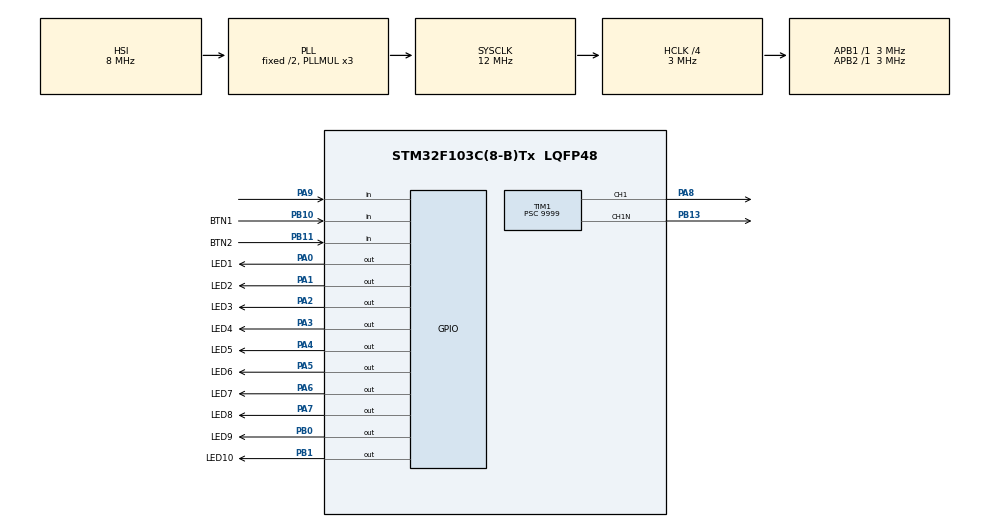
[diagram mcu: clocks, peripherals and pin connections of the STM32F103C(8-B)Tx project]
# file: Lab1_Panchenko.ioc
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Mcu.Family=STM32F1
Mcu.Name=STM32F103C(8-B)Tx
Mcu.Package=LQFP48
NVIC.PriorityGroup=NVIC_PRIORITYGROUP_4
NVIC.TIM1_BRK_IRQn=true\:0\:0\:false\:false\:true\:true\:true\:true
NVIC.TIM1_CC_IRQn=true\:0\:0\:false\:false\:true\:true\:true\:true
NVIC.TIM1_TRG_COM_IRQn=true\:0\:0\:false\:false\:true\:true\:true\:true
NVIC.TIM1_UP_IRQn=true\:0\:0\:false\:false\:true\:true\:true\:true
PA0-WKUP.GPIO_Label=LED1
PA0-WKUP.Signal=GPIO_Output
PA1.GPIO_Label=LED2
PA1.Signal=GPIO_Output
PA13.Mode=Serial_Wire
PA13.Signal=SYS_JTMS-SWDIO
PA14.Mode=Serial_Wire
PA14.Signal=SYS_JTCK-SWCLK
PA2.GPIO_Label=LED3
PA2.Signal=GPIO_Output
PA3.GPIO_Label=LED4
PA3.Signal=GPIO_Output
PA4.GPIO_Label=LED5
PA4.Signal=GPIO_Output
PA5.GPIO_Label=LED6
PA5.Signal=GPIO_Output
PA6.GPIO_Label=LED7
PA6.Signal=GPIO_Output
PA7.GPIO_Label=LED8
PA7.Signal=GPIO_Output
PA8.Signal=S_TIM1_CH1
PA9.Signal=GPIO_Input
PB0.GPIO_Label=LED9
PB0.Signal=GPIO_Output
PB1.GPIO_Label=LED10
PB1.Signal=GPIO_Output
PB10.GPIO_Label=BTN1
PB10.Signal=GPIO_Input
PB11.GPIO_Label=BTN2
PB11.Signal=GPIO_Input
PB13.Mode=PWM Generation1 CH1 CH1N
PB13.Signal=TIM1_CH1N
ProjectManager.HeapSize=0x200
ProjectManager.StackSize=0x400
ProjectManager.TargetToolchain=STM32CubeIDE
RCC.AHBCLKDivider=RCC_SYSCLK_DIV4
RCC.AHBFreq_Value=3000000
RCC.APB1Freq_Value=3000000
RCC.APB1TimFreq_Value=3000000
RCC.APB2Freq_Value=3000000
RCC.APB2TimFreq_Value=3000000
RCC.HCLKFreq_Value=3000000
RCC.PLLMUL=RCC_PLL_MUL3
RCC.SYSCLKFreq_VALUE=12000000
RCC.SYSCLKSource=RCC_SYSCLKSOURCE_PLLCLK
RCC.USBFreq_Value=12000000
SH.S_TIM1_CH1.0=TIM1_CH1,PWM Generation1 CH1 CH1N
TIM1.AutoReloadPreload=TIM_AUTORELOAD_PRELOAD_ENABLE
TIM1.AutomaticOutput=TIM_AUTOMATICOUTPUT_ENABLE
TIM1.Channel-PWM\ Generation1\ CH1\ CH1N=TIM_CHANNEL_1
TIM1.OCMode_PWM-PWM\ Generation1\ CH1\ CH1N=TIM_OCMODE_PWM1
TIM1.OCNPolarity_1=TIM_OCNPOLARITY_LOW
TIM1.Period=999
TIM1.Prescaler=9999
TIM1.Pulse-PWM\ Generation1\ CH1\ CH1N=499
VP_TIM1_VS_ClockSourceINT.Mode=Internal
board=custom

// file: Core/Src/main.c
/* USER CODE BEGIN Header */
/**
  ******************************************************************************
  * @file           : main.c
  * @brief          : Main program body
  ******************************************************************************
  * @attention
  *
  * Copyright (c) 2025 STMicroelectronics.
  * All rights reserved.
  *
  * This software is licensed under terms that can be found in the LICENSE file
  * in the root directory of this software component.
  * If no LICENSE file comes with this software, it is provided AS-IS.
  *
  ******************************************************************************
  */
/* USER CODE END Header */
#include "main.h"

/* USER CODE BEGIN Includes */
#include "stm32f1xx_hal_tim.h"

/* USER CODE END Includes */

TIM_HandleTypeDef htim1;

void SystemClock_Config(void);
static void MX_GPIO_Init(void);
static void MX_TIM1_Init(void);

int main(void)
{

  /* MCU Configuration--------------------------------------------------------*/

  /* Reset of all peripherals, Initializes the Flash interface and the Systick. */
  HAL_Init();

  /* Configure the system clock */
  SystemClock_Config();

  /* Initialize all configured peripherals */
  MX_GPIO_Init();
  MX_TIM1_Init();

  /* Infinite loop */
  /* USER CODE BEGIN WHILE */
  while (1)
  {
//	    GPIO_PinState btn1_state = HAL_GPIO_ReadPin(GPIOB, BTN1_Pin);
//	    GPIO_PinState btn2_state = HAL_GPIO_ReadPin(GPIOB, BTN2_Pin);
//
//	    HAL_GPIO_WritePin(GPIOA, LED1_Pin | LED2_Pin | LED3_Pin | LED4_Pin | LED5_Pin,
//	                      (btn1_state == GPIO_PIN_RESET) ? GPIO_PIN_SET : GPIO_PIN_RESET);
//
//	    HAL_GPIO_WritePin(GPIOA, LED6_Pin | LED7_Pin | LED8_Pin,
//	                      (btn2_state == GPIO_PIN_RESET) ? GPIO_PIN_SET : GPIO_PIN_RESET);
//
//	    HAL_GPIO_WritePin(GPIOB, LED9_Pin | LED10_Pin,
//	                      (btn2_state == GPIO_PIN_RESET) ? GPIO_PIN_SET : GPIO_PIN_RESET);

	  GPIO_PinState pwm_level = HAL_GPIO_ReadPin(GPIOA, GPIO_PIN_9);

	  // button state
	  GPIO_PinState btn1_state = HAL_GPIO_ReadPin(GPIOB, BTN1_Pin);
	  GPIO_PinState btn2_state = HAL_GPIO_ReadPin(GPIOB, BTN2_Pin);

	  // BTN1 — LED1–LED5
	  HAL_GPIO_WritePin(GPIOA,
	                    LED1_Pin | LED2_Pin | LED3_Pin | LED4_Pin | LED5_Pin,
	                    (btn1_state == GPIO_PIN_RESET) ? pwm_level : GPIO_PIN_RESET);

	  // BTN2 — LED6–LED10
	  HAL_GPIO_WritePin(GPIOA,
	                    LED6_Pin | LED7_Pin | LED8_Pin,
	                    (btn2_state == GPIO_PIN_RESET) ? pwm_level : GPIO_PIN_RESET);

	  // BTN2 — LED6–LED10
	  HAL_GPIO_WritePin(GPIOB,
	                    LED9_Pin | LED10_Pin,
	                    (btn2_state == GPIO_PIN_RESET) ? pwm_level : GPIO_PIN_RESET);

    /* USER CODE END WHILE */

  }
}

void SystemClock_Config(void)
{
  RCC_OscInitTypeDef RCC_OscInitStruct = {0};
  RCC_ClkInitTypeDef RCC_ClkInitStruct = {0};

  /** Initializes the RCC Oscillators according to the specified parameters
  * in the RCC_OscInitTypeDef structure.
  */
  RCC_OscInitStruct.OscillatorType = RCC_OSCILLATORTYPE_HSI;
  RCC_OscInitStruct.HSIState = RCC_HSI_ON;
  RCC_OscInitStruct.HSICalibrationValue = RCC_HSICALIBRATION_DEFAULT;
  RCC_OscInitStruct.PLL.PLLState = RCC_PLL_ON;
  RCC_OscInitStruct.PLL.PLLSource = RCC_PLLSOURCE_HSI_DIV2;
  RCC_OscInitStruct.PLL.PLLMUL = RCC_PLL_MUL3;
  if (HAL_RCC_OscConfig(&RCC_OscInitStruct) != HAL_OK)
  {
    Error_Handler();
  }

  /** Initializes the CPU, AHB and APB buses clocks
  */
  RCC_ClkInitStruct.ClockType = RCC_CLOCKTYPE_HCLK|RCC_CLOCKTYPE_SYSCLK
                              |RCC_CLOCKTYPE_PCLK1|RCC_CLOCKTYPE_PCLK2;
  RCC_ClkInitStruct.SYSCLKSource = RCC_SYSCLKSOURCE_PLLCLK;
  RCC_ClkInitStruct.AHBCLKDivider = RCC_SYSCLK_DIV4;
  RCC_ClkInitStruct.APB1CLKDivider = RCC_HCLK_DIV1;
  RCC_ClkInitStruct.APB2CLKDivider = RCC_HCLK_DIV1;

  if (HAL_RCC_ClockConfig(&RCC_ClkInitStruct, FLASH_LATENCY_0) != HAL_OK)
  {
    Error_Handler();
  }
}

static void MX_TIM1_Init(void)
{

  TIM_ClockConfigTypeDef sClockSourceConfig = {0};
  TIM_MasterConfigTypeDef sMasterConfig = {0};
  TIM_OC_InitTypeDef sConfigOC = {0};
  TIM_BreakDeadTimeConfigTypeDef sBreakDeadTimeConfig = {0};

  htim1.Instance = TIM1;
  htim1.Init.Prescaler = 9999;
  htim1.Init.CounterMode = TIM_COUNTERMODE_UP;
  htim1.Init.Period = 999;
  htim1.Init.ClockDivision = TIM_CLOCKDIVISION_DIV1;
  htim1.Init.RepetitionCounter = 0;
  htim1.Init.AutoReloadPreload = TIM_AUTORELOAD_PRELOAD_ENABLE;
  if (HAL_TIM_Base_Init(&htim1) != HAL_OK)
  {
    Error_Handler();
  }
  sClockSourceConfig.ClockSource = TIM_CLOCKSOURCE_INTERNAL;
  if (HAL_TIM_ConfigClockSource(&htim1, &sClockSourceConfig) != HAL_OK)
  {
    Error_Handler();
  }
  if (HAL_TIM_PWM_Init(&htim1) != HAL_OK)
  {
    Error_Handler();
  }
  sMasterConfig.MasterOutputTrigger = TIM_TRGO_RESET;
  sMasterConfig.MasterSlaveMode = TIM_MASTERSLAVEMODE_DISABLE;
  if (HAL_TIMEx_MasterConfigSynchronization(&htim1, &sMasterConfig) != HAL_OK)
  {
    Error_Handler();
  }
  sConfigOC.OCMode = TIM_OCMODE_PWM1;
  sConfigOC.Pulse = 250;
  sConfigOC.OCPolarity = TIM_OCPOLARITY_HIGH;
  sConfigOC.OCNPolarity = TIM_OCNPOLARITY_HIGH;
  sConfigOC.OCFastMode = TIM_OCFAST_DISABLE;
  sConfigOC.OCIdleState = TIM_OCIDLESTATE_RESET;
  sConfigOC.OCNIdleState = TIM_OCNIDLESTATE_RESET;
  if (HAL_TIM_PWM_ConfigChannel(&htim1, &sConfigOC, TIM_CHANNEL_1) != HAL_OK)
  {
    Error_Handler();
  }

  sBreakDeadTimeConfig.OffStateRunMode = TIM_OSSR_DISABLE;
  sBreakDeadTimeConfig.OffStateIDLEMode = TIM_OSSI_DISABLE;
  sBreakDeadTimeConfig.LockLevel = TIM_LOCKLEVEL_OFF;
  sBreakDeadTimeConfig.DeadTime = 0;
  sBreakDeadTimeConfig.BreakState = TIM_BREAK_DISABLE;
  sBreakDeadTimeConfig.BreakPolarity = TIM_BREAKPOLARITY_HIGH;
  sBreakDeadTimeConfig.AutomaticOutput = TIM_AUTOMATICOUTPUT_ENABLE;
  if (HAL_TIMEx_ConfigBreakDeadTime(&htim1, &sBreakDeadTimeConfig) != HAL_OK)
  {
    Error_Handler();
  }
  /* USER CODE BEGIN TIM1_Init 2 */
  HAL_TIM_PWM_Start(&htim1, TIM_CHANNEL_1);                     // Starting PWM
  HAL_TIMEx_PWMN_Start(&htim1, TIM_CHANNEL_1);
  __HAL_TIM_SET_COUNTER(&htim1, 0);                              // Counter Reset
  __HAL_TIM_ENABLE_IT(&htim1, TIM_IT_UPDATE);                    // Interrupt Enable
  __HAL_TIM_MOE_ENABLE(&htim1);                                  // MANDATORY
  __HAL_TIM_ENABLE(&htim1);                                      // Start the timer
  HAL_TIM_GenerateEvent(&htim1, TIM_EVENTSOURCE_UPDATE);      // Generate the event
  /* USER CODE END TIM1_Init 2 */
  HAL_TIM_MspPostInit(&htim1);

}

static void MX_GPIO_Init(void)
{
  GPIO_InitTypeDef GPIO_InitStruct = {0};

  /* GPIO Ports Clock Enable */
  __HAL_RCC_GPIOA_CLK_ENABLE();
  __HAL_RCC_GPIOB_CLK_ENABLE();

  /*Configure GPIO pin Output Level */
  HAL_GPIO_WritePin(GPIOA, LED1_Pin|LED2_Pin|LED3_Pin|LED4_Pin
                          |LED5_Pin|LED6_Pin|LED7_Pin|LED8_Pin, GPIO_PIN_RESET);

  /*Configure GPIO pin Output Level */
  HAL_GPIO_WritePin(GPIOB, LED9_Pin|LED10_Pin, GPIO_PIN_RESET);

  /*Configure GPIO pins : LED1_Pin LED2_Pin LED3_Pin LED4_Pin
                           LED5_Pin LED6_Pin LED7_Pin LED8_Pin */
  GPIO_InitStruct.Pin = LED1_Pin|LED2_Pin|LED3_Pin|LED4_Pin
                          |LED5_Pin|LED6_Pin|LED7_Pin|LED8_Pin;
  GPIO_InitStruct.Mode = GPIO_MODE_OUTPUT_PP;
  GPIO_InitStruct.Pull = GPIO_NOPULL;
  GPIO_InitStruct.Speed = GPIO_SPEED_FREQ_LOW;
  HAL_GPIO_Init(GPIOA, &GPIO_InitStruct);

  /*Configure GPIO pins : LED9_Pin LED10_Pin */
  GPIO_InitStruct.Pin = LED9_Pin|LED10_Pin;
  GPIO_InitStruct.Mode = GPIO_MODE_OUTPUT_PP;
  GPIO_InitStruct.Pull = GPIO_NOPULL;
  GPIO_InitStruct.Speed = GPIO_SPEED_FREQ_LOW;
  HAL_GPIO_Init(GPIOB, &GPIO_InitStruct);

  /*Configure GPIO pins : BTN1_Pin BTN2_Pin */
  GPIO_InitStruct.Pin = BTN1_Pin|BTN2_Pin;
  GPIO_InitStruct.Mode = GPIO_MODE_INPUT;
  GPIO_InitStruct.Pull = GPIO_PULLUP;
  HAL_GPIO_Init(GPIOB, &GPIO_InitStruct);

  /*Configure GPIO pin : PA9 */
  GPIO_InitStruct.Pin = GPIO_PIN_9;
  GPIO_InitStruct.Mode = GPIO_MODE_INPUT;
  GPIO_InitStruct.Pull = GPIO_NOPULL;
  HAL_GPIO_Init(GPIOA, &GPIO_InitStruct);

/* USER CODE BEGIN MX_GPIO_Init_2 */
  /*Configure GPIO pin : PB13 as TIM1_CH1N (Alternate Function Push-Pull)*/
  GPIO_InitStruct.Pin = GPIO_PIN_13;
  GPIO_InitStruct.Mode = GPIO_MODE_AF_PP;
  GPIO_InitStruct.Speed = GPIO_SPEED_FREQ_LOW;
  HAL_GPIO_Init(GPIOB, &GPIO_InitStruct);
/* USER CODE END MX_GPIO_Init_2 */
}

void Error_Handler(void)
{
  __disable_irq();
  while (1)
  {
  }
}
